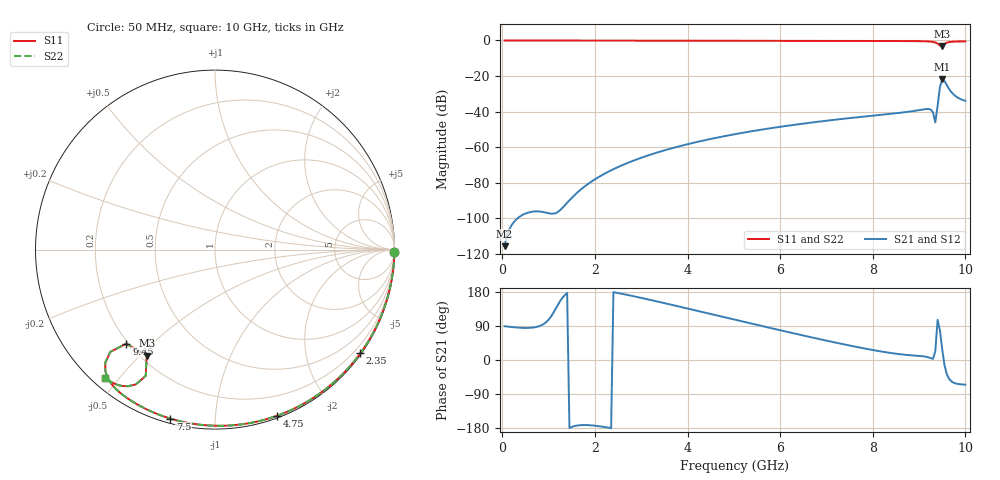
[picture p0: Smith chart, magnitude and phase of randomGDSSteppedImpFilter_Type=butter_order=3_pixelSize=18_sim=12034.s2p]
! freq	dB(S11)	phase(S11)	dB(S12)	phase(S12)
!  dB(S21)	phase(S21)	dB(S22)	phase(S22)
!S-par simulation data
#  GHz  S  DB  R 50
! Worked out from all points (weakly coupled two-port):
!   200 points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, 50 MHz to 10 GHz, reference 50 ohm
!   highest |S21| = -21.97 dB at 9.5 GHz (marker M1); lowest = -115.8 dB at 50 MHz (marker M2)
!   lowest |S11| = -3.1 dB at 9.5 GHz (marker M3), VSWR 5.71, Z = 11.3 - j26.2 ohm
!   |S11| at or under -10 dB: nowhere
!   |S22| runs from -3.1 to 0.0 dB; largest |S21 - S12| = 0
!   S11 on the Smith chart (normalised r, x): 50 MHz: open; 2.35 GHz: 0.03, -3.12; 4.75 GHz: 0.02, -1.44; 7.5 GHz: 0.02, -0.77; 9.45 GHz: 0.19, -0.42; 10 GHz: 0.04, -0.46
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0.05  -0.00 -0.8  -115.80 89.2  -115.80 89.2  -0.00 -0.8
1.75  -0.03 -26.6  -82.76 -171.6  -82.76 -171.6  -0.03 -26.6
1.9  -0.04 -28.9  -79.89 -172.2  -79.89 -172.2  -0.04 -28.9
2.35  -0.05 -35.5  -73.09 -179.8  -73.09 -179.8  -0.05 -35.5
2.85  -0.06 -42.8  -67.48 167.9  -67.48 167.9  -0.06 -42.8
3.4  -0.07 -50.7  -62.65 152.9  -62.65 152.9  -0.07 -50.7
4.75  -0.10 -69.4  -54.11 114.2  -54.11 114.2  -0.10 -69.4
5.05  -0.11 -73.4  -52.63 105.6  -52.63 105.6  -0.11 -73.4
6.7  -0.18 -94.8  -46.14 59.1  -46.14 59.1  -0.18 -94.8
7.5  -0.23 -104.8  -43.71 38.2  -43.71 38.2  -0.23 -104.8
8.35  -0.30 -115.4  -41.41 19.2  -41.41 19.2  -0.30 -115.4
9.2  -0.55 -129.0  -38.56 7.0  -38.56 7.0  -0.55 -129.0
9.25  -0.65 -130.5  -38.89 4.8  -38.89 4.8  -0.65 -130.4
9.3  -0.82 -132.2  -40.38 3.0  -40.38 3.0  -0.82 -132.2
9.35  -1.14 -134.2  -46.12 22.8  -46.12 22.8  -1.13 -134.1
9.4  -1.78 -135.7  -36.92 106.1  -36.92 106.1  -1.76 -135.7
9.45  -2.85 -133.3  -26.28 78.9  -26.28 78.9  -2.83 -133.4
9.5  -3.07 -122.8  -21.97 27.9  -21.97 27.9  -3.09 -123.0
9.55  -1.91 -118.8  -22.83 -14.6  -22.83 -14.6  -1.93 -118.8
9.6  -1.21 -120.4  -25.20 -38.0  -25.20 -38.0  -1.22 -120.4
9.75  -0.65 -125.6  -30.52 -60.2  -30.52 -60.2  -0.65 -125.6
10  -0.53 -130.6  -33.99 -65.1  -33.99 -65.1  -0.53 -130.6
